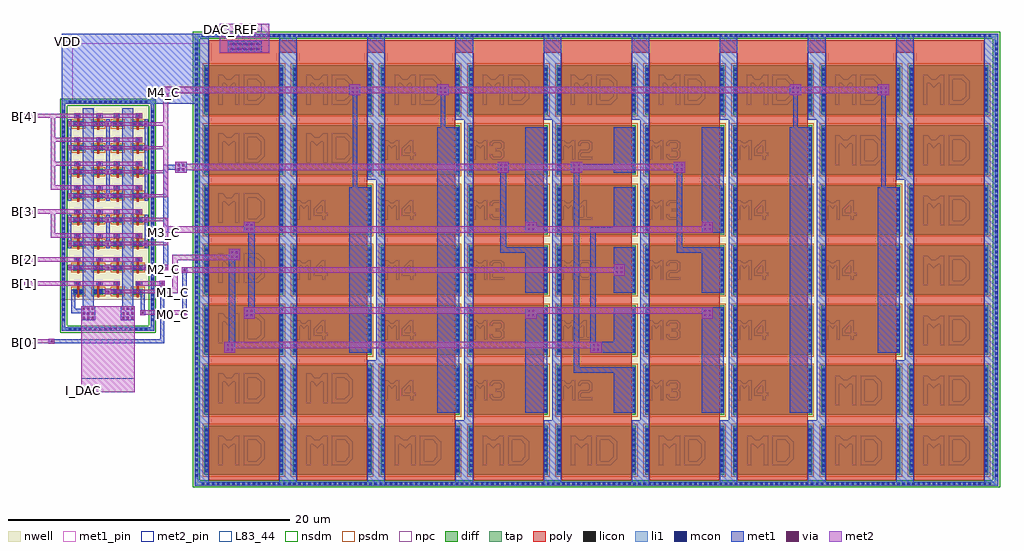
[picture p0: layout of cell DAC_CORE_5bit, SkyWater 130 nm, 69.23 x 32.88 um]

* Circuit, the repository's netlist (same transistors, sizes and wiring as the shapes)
** sch_path: /foss/designs/lab2/xschem/DAC_CORE_5bit.sch
.subckt DAC_CORE_5bit VDD DAC_REF I_DAC b[4] b[3] b[2] b[1] b[0]
*.PININFO DAC_REF:B b[4:0]:I VDD:B I_DAC:O
XM1 M1_C DAC_REF VDD VDD sky130_fd_pr__pfet_01v8 L=5 W=3.5 nf=1 m=2
XM2 M2_C DAC_REF VDD VDD sky130_fd_pr__pfet_01v8 L=5 W=3.5 nf=1 m=4
XM3 M3_C DAC_REF VDD VDD sky130_fd_pr__pfet_01v8 L=5 W=3.5 nf=1 m=8
XM4 M4_C DAC_REF VDD VDD sky130_fd_pr__pfet_01v8 L=5 W=3.5 nf=1 m=16
XM0 M0_C DAC_REF VDD VDD sky130_fd_pr__pfet_01v8 L=5 W=3.5 nf=1
XMK0 I_DAC b[0] M0_C VDD sky130_fd_pr__pfet_01v8 L=0.15 W=0.42 nf=1
XMK1 I_DAC b[1] M1_C VDD sky130_fd_pr__pfet_01v8 L=0.15 W=0.42 nf=1 m=2
XMK2 I_DAC b[2] M2_C VDD sky130_fd_pr__pfet_01v8 L=0.15 W=0.42 nf=1 m=4
XMK3 I_DAC b[3] M3_C VDD sky130_fd_pr__pfet_01v8 L=0.15 W=0.42 nf=1 m=8
XMK4 I_DAC b[4] M4_C VDD sky130_fd_pr__pfet_01v8 L=0.15 W=0.42 nf=1 m=16
XMD VDD DAC_REF VDD VDD sky130_fd_pr__pfet_01v8 L=5 W=3.5 nf=1 m=32
XMKD I_DAC b[1] I_DAC VDD sky130_fd_pr__pfet_01v8 L=0.15 W=0.42 nf=1
.ends

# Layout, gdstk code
from math import pi, radians
import gdstk
lib = gdstk.Library(unit=1e-6, precision=1e-09)
def R(c, l, rs):  # rectangles x0, y0, x1, y1
    for r in rs: c.add(gdstk.rectangle(r[:2], r[2:], *l))
def A(c, l, x, y, w, h, nx, ny, dx, dy):  # array of equal rectangles
    R(c, l, [(x+i*dx, y+j*dy, x+i*dx+w, y+j*dy+h) for i in range(nx) for j in range(ny)])
def P(c, l, *ps):  # polygons
    for p in ps: c.add(gdstk.Polygon(p, *l))
nwell = (64, 20)
diff = (65, 20)
tap = (65, 44)
poly = (66, 20)
licon = (66, 44)
li1 = (67, 20)
mcon = (67, 44)
met1_pin = (68, 16)
met1 = (68, 20)
via = (68, 44)
met2_pin = (69, 16)
met2 = (69, 20)
L83_44 = (83, 44)
nsdm = (93, 44)
psdm = (94, 20)
npc = (95, 20)

text = lib.new_cell('TEXT')
P(text, L83_44, [(0,0),(0,2.1),(0.3,2.1),(0.6,1.8),(0.9,1.8),(1.2,2.1),(1.5,2.1),(1.5,0),(1.2,0),(1.2,1.5),(1.05,1.5),(0.75,1.2),(0.45,1.5),(0.3,1.5),(0.3,0)],
  [(1.8,0),(1.8,2.1),(2.85,2.1),(3.15,1.8),(2.1,1.8),(2.1,0.3),(2.7,0.3),(3,0.6),(3,1.5),(2.7,1.8),(3.15,1.8),(3.3,1.65),(3.3,0.45),(2.85,0)])

guard_ring_gen = lib.new_cell('guard_ring_gen')
P(guard_ring_gen, tap, [(-0.25,-0.25),(-0.25,31.55),(0,31.55),(0,0),(56.5,0),(56.5,31.55),(-0.25,31.55),(-0.25,31.8),(56.75,31.8),(56.75,-0.25)])
A(guard_ring_gen, licon, 0.265, -0.21, 0.17, 0.17, 156, 2, 0.36, 31.8)
A(guard_ring_gen, licon, -0.21, 0.39, 0.17, 0.17, 1, 86, 0, 0.36)
A(guard_ring_gen, licon, 56.54, 0.39, 0.17, 0.17, 1, 86, 0, 0.36)
P(guard_ring_gen, li1, [(-0.25,-0.25),(-0.25,31.55),(0,31.55),(0,0),(56.5,0),(56.5,31.55),(-0.25,31.55),(-0.25,31.8),(56.75,31.8),(56.75,-0.25)])
A(guard_ring_gen, mcon, 0.265, -0.21, 0.17, 0.17, 156, 2, 0.36, 31.8)
A(guard_ring_gen, mcon, -0.21, 0.39, 0.17, 0.17, 1, 86, 0, 0.36)
A(guard_ring_gen, mcon, 56.54, 0.39, 0.17, 0.17, 1, 86, 0, 0.36)
P(guard_ring_gen, met1, [(-0.25,-0.25),(-0.25,31.55),(0,31.55),(0,0),(56.5,0),(56.5,31.55),(-0.25,31.55),(-0.25,31.8),(56.75,31.8),(56.75,-0.25)])
P(guard_ring_gen, nsdm, [(-0.375,-0.375),(-0.375,31.425),(0.125,31.425),(0.125,0.125),(56.375,0.125),(56.375,31.425),(-0.375,31.425),(-0.375,31.925),(56.875,31.925),(56.875,-0.375)])

dac_base_mk = lib.new_cell('DAC_BASE_MK')
R(dac_base_mk, nwell, [(-0.325,-0.38,1.075,1.32)])
R(dac_base_mk, diff, [(0,0,0.75,0.42)])
R(dac_base_mk, poly, [(0.3,-0.2,0.45,0.62), (0.3,0.62,0.57,0.95)])
R(dac_base_mk, licon, [(0.065,0.125,0.235,0.295), (0.515,0.125,0.685,0.295), (0.35,0.7,0.52,0.87)])
R(dac_base_mk, li1, [(0.065,0.045,0.235,0.375), (0.515,0.045,0.685,0.375), (0.27,0.7,0.6,0.87)])
R(dac_base_mk, mcon, [(0.065,0.125,0.235,0.295), (0.515,0.125,0.685,0.295), (0.35,0.7,0.52,0.87)])
R(dac_base_mk, met1, [(-0.325,-0.38,0.065,1.32), (0.005,0.065,0.295,0.355), (0.455,0.065,0.745,0.355), (0.25,0.61,0.67,0.96), (0.25,0.67,0.62,0.9), (0.62,0.67,0.67,0.9)])
R(dac_base_mk, psdm, [(-0.125,-0.125,0.875,0.545)])
R(dac_base_mk, npc, [(0.29,0.61,0.58,0.96)])

vias_gen_5 = lib.new_cell('vias_gen$5')
R(vias_gen_5, met1, [(0,0,0.42,0.35)])
R(vias_gen_5, via, [(0.135,0.1,0.285,0.25)])
R(vias_gen_5, met2, [(0,0,0.42,0.35)])

vias_gen = lib.new_cell('vias_gen')
R(vias_gen, met1, [(0,0,1,1)])
A(vias_gen, via, 0.105, 0.105, 0.15, 0.15, 3, 3, 0.32, 0.32)
R(vias_gen, met2, [(0,0,1,1)])

vias_gen_3 = lib.new_cell('vias_gen$3')
R(vias_gen_3, met1, [(0,0,0.8,0.8)])
R(vias_gen_3, via, [(0.165,0.165,0.315,0.315), (0.485,0.165,0.635,0.315), (0.165,0.485,0.315,0.635), (0.485,0.485,0.635,0.635)])
R(vias_gen_3, met2, [(0,0,0.8,0.8)])

text_3 = lib.new_cell('TEXT$3')
R(text_3, L83_44, [(1.6,0.5,1.8,0.9)])
P(text_3, L83_44, [(0,0),(0,1.4),(0.2,1.4),(0.4,1.2),(0.6,1.2),(0.8,1.4),(1,1.4),(1,0),(0.8,0),(0.8,1),(0.7,1),(0.5,0.8),(0.3,1),(0.2,1),(0.2,0)],
  [(1.4,0),(1.2,0.2),(1.2,1.2),(1.4,1.4),(2,1.4),(2.2,1.2),(1.5,1.2),(1.4,1.1),(1.4,0.3),(1.5,0.2),(1.9,0.2),(2,0.3),(2,1.1),(1.9,1.2),(2.2,1.2),(2.2,0.2),(2,0)])

text_1 = lib.new_cell('TEXT$1')
P(text_1, L83_44, [(0,0),(0,1.4),(0.2,1.4),(0.4,1.2),(0.6,1.2),(0.8,1.4),(1,1.4),(1,0),(0.8,0),(0.8,1),(0.7,1),(0.5,0.8),(0.3,1),(0.2,1),(0.2,0)],
  [(1.2,0),(1.2,0.2),(1.6,0.2),(1.6,1),(1.5,1),(1.3,0.8),(1.2,0.8),(1.2,1),(1.6,1.4),(1.8,1.4),(1.8,0.2),(2.2,0.2),(2.2,0)])

text_4 = lib.new_cell('TEXT$4')
P(text_4, L83_44, [(0,0),(0,1.4),(0.2,1.4),(0.4,1.2),(0.6,1.2),(0.8,1.4),(1,1.4),(1,0),(0.8,0),(0.8,1),(0.7,1),(0.5,0.8),(0.3,1),(0.2,1),(0.2,0)],
  [(1.8,0),(1.8,0.3),(1.2,0.3),(1.2,0.5),(1.8,0.5),(1.8,1),(1.7,1),(1.4,0.7),(1.4,0.5),(1.2,0.5),(1.2,0.8),(1.8,1.4),(2,1.4),(2,0.5),(2.2,0.5),(2.2,0.3),(2,0.3),(2,0)])

dac_base_mcs = lib.new_cell('DAC_BASE_MCS')
R(dac_base_mcs, nwell, [(-0.325,-0.38,5.925,3.88)])
R(dac_base_mcs, diff, [(0,0,5.6,3.5)])
R(dac_base_mcs, poly, [(0.3,-0.38,5.3,3.88)])
A(dac_base_mcs, licon, 0.065, 0.225, 0.17, 0.17, 1, 9, 0, 0.36)
A(dac_base_mcs, licon, 5.365, 0.225, 0.17, 0.17, 1, 9, 0, 0.36)
R(dac_base_mcs, li1, [(0.065,0.145,0.235,3.355), (5.365,0.145,5.535,3.355)])
A(dac_base_mcs, mcon, 0.065, 0.225, 0.17, 0.17, 1, 9, 0, 0.36)
A(dac_base_mcs, mcon, 5.365, 0.225, 0.17, 0.17, 1, 9, 0, 0.36)
R(dac_base_mcs, met1, [(-0.325,-0.38,0.3,3.88), (0.035,0.165,0.265,3.335), (5.335,0.165,5.565,3.335)])
R(dac_base_mcs, psdm, [(-0.125,-0.125,5.725,3.625)])

text_2 = lib.new_cell('TEXT$2')
P(text_2, L83_44, [(0,0),(0,1.4),(0.2,1.4),(0.4,1.2),(0.6,1.2),(0.8,1.4),(1,1.4),(1,0),(0.8,0),(0.8,1),(0.7,1),(0.5,0.8),(0.3,1),(0.2,1),(0.2,0)],
  [(1.2,0),(1.2,0.5),(1.4,0.7),(1.9,0.7),(2,0.8),(2,1.1),(1.9,1.2),(1.5,1.2),(1.4,1.1),(1.4,1),(1.2,1),(1.2,1.2),(1.4,1.4),(2,1.4),(2.2,1.2),(2.2,0.7),(2,0.5),(1.5,0.5),(1.4,0.4),(1.4,0.2),(2.2,0.2),(2.2,0)])

text_5 = lib.new_cell('TEXT$5')
P(text_5, L83_44, [(0,0),(0,1.4),(0.2,1.4),(0.4,1.2),(0.6,1.2),(0.8,1.4),(1,1.4),(1,0),(0.8,0),(0.8,1),(0.7,1),(0.5,0.8),(0.3,1),(0.2,1),(0.2,0)],
  [(1.4,0),(1.2,0.2),(1.2,0.4),(1.4,0.4),(1.4,0.3),(1.5,0.2),(1.9,0.2),(2,0.3),(2,0.5),(1.9,0.6),(1.6,0.6),(1.6,0.8),(1.9,0.8),(2,0.9),(2,1.1),(1.9,1.2),(1.5,1.2),(1.4,1.1),(1.4,1),(1.2,1),(1.2,1.2),(1.4,1.4),(2,1.4),(2.2,1.2),(2.2,0.8),(2.1,0.7),(2.2,0.6),(2.2,0.2),(2,0)])

vias_gen_4 = lib.new_cell('vias_gen$4')
R(vias_gen_4, met1, [(0,0,0.38,0.38)])
R(vias_gen_4, via, [(0.115,0.115,0.265,0.265)])
R(vias_gen_4, met2, [(0,0,0.38,0.38)])

guard_ring_gen_3 = lib.new_cell('guard_ring_gen$3')
P(guard_ring_gen_3, tap, [(-0.25,-0.25),(-0.25,15.85),(0,15.85),(0,0),(6.05,0),(6.05,15.85),(-0.25,15.85),(-0.25,16.1),(6.3,16.1),(6.3,-0.25)])
A(guard_ring_gen_3, licon, 0.24, -0.21, 0.17, 0.17, 16, 2, 0.36, 16.1)
A(guard_ring_gen_3, licon, -0.21, 0.46, 0.17, 0.17, 1, 42, 0, 0.36)
A(guard_ring_gen_3, licon, 6.09, 0.46, 0.17, 0.17, 1, 42, 0, 0.36)
P(guard_ring_gen_3, li1, [(-0.25,-0.25),(-0.25,15.85),(0,15.85),(0,0),(6.05,0),(6.05,15.85),(-0.25,15.85),(-0.25,16.1),(6.3,16.1),(6.3,-0.25)])
A(guard_ring_gen_3, mcon, 0.24, -0.21, 0.17, 0.17, 16, 2, 0.36, 16.1)
A(guard_ring_gen_3, mcon, -0.21, 0.46, 0.17, 0.17, 1, 42, 0, 0.36)
A(guard_ring_gen_3, mcon, 6.09, 0.46, 0.17, 0.17, 1, 42, 0, 0.36)
P(guard_ring_gen_3, met1, [(-0.25,-0.25),(-0.25,15.85),(0,15.85),(0,0),(6.05,0),(6.05,15.85),(-0.25,15.85),(-0.25,16.1),(6.3,16.1),(6.3,-0.25)])
P(guard_ring_gen_3, nsdm, [(-0.375,-0.375),(-0.375,15.725),(0.125,15.725),(0.125,0.125),(5.925,0.125),(5.925,15.725),(-0.375,15.725),(-0.375,16.225),(6.425,16.225),(6.425,-0.375)])

vias_gen_6 = lib.new_cell('vias_gen$6')
R(vias_gen_6, poly, [(0,0,2.4,0.8)])
A(vias_gen_6, licon, 0.095, 0.145, 0.17, 0.17, 7, 2, 0.34, 0.34)
R(vias_gen_6, li1, [(0,0,2.4,0.8)])
A(vias_gen_6, mcon, 0.215, 0.135, 0.17, 0.17, 6, 2, 0.36, 0.36)
R(vias_gen_6, met1, [(0,0,2.4,0.8)])
A(vias_gen_6, via, 0.165, 0.165, 0.15, 0.15, 7, 2, 0.32, 0.32)
R(vias_gen_6, met2, [(0,0,2.4,0.8)])
R(vias_gen_6, npc, [(-0.05,-0.05,2.45,0.85)])

dac_core_5bit = lib.new_cell('DAC_CORE_5bit')
R(dac_core_5bit, nwell, [(-0.825,-0.88,56.425,31.42), (-10.245,12.41,-3.445,26.685)])
A(dac_core_5bit, poly, 0.3, 29.44, 5, 0.5, 9, 1, 6.25, 0)
R(dac_core_5bit, poly, [(0.3,29.94,55.3,30.84)])
R(dac_core_5bit, met1_pin, [(-10.12,26.31,-9.33,30.58), (-10.12,30.58,0.3,31.295)])
A(dac_core_5bit, met1, 24.05, -0.755, 1.25, 4.635, 3, 1, 6.25, 0)
A(dac_core_5bit, met1, 22.765, 12.91, 1.55, 3.24, 3, 1, 6.25, 0)
A(dac_core_5bit, met1, 24.05, 25.18, 1.25, 6.115, 3, 1, 6.25, 0)
R(dac_core_5bit, met1, [(55.3,-0.76,56.3,31.29), (-0.7,-0.755,0.3,31.295), (5.3,-0.755,6.55,31.295), (16.515,4.39,18.065,24.66), (22.765,4.39,24.315,11.89), (29.015,4.39,30.565,7.63), (35.265,4.39,36.815,11.89), (41.515,4.39,43.065,24.66), (10.265,8.65,11.815,20.4), (29.015,8.65,30.565,11.89), (47.765,8.65,49.315,20.4), (28.17,9.05,29.015,9.45), (-8.635,11.49,-7.855,12.412), (-5.835,11.87,-5.055,12.412), (22.765,17.17,24.315,24.66), (29.015,17.17,30.565,20.41), (35.265,17.17,36.815,24.66), (29.015,21.42,30.565,24.66), (-10.12,26.31,0.3,31.295)])
P(dac_core_5bit, met1, [(17.8,-0.755),(17.8,3.885),(18.425,3.885),(18.425,25.185),(17.8,25.185),(17.8,31.295),(19.05,31.295),(19.05,-0.755)],
  [(11.55,-0.76),(11.55,8.14),(12.175,8.14),(12.175,20.92),(11.55,20.92),(11.55,31.29),(12.8,31.29),(12.8,-0.76)],
  [(49.05,-0.76),(49.05,8.14),(49.675,8.14),(49.675,20.92),(49.05,20.92),(49.05,31.29),(50.3,31.29),(50.3,-0.76)],
  [(42.8,-0.76),(42.8,3.88),(43.425,3.88),(43.425,25.18),(42.8,25.18),(42.8,31.29),(44.05,31.29),(44.05,-0.76)])
R(dac_core_5bit, met2_pin, [(-8.75,5.85,-4.94,6.85), (-12.8,9.33,-12.5,9.63), (-12.8,13.425,-12.5,13.725), (-12.8,15.125,-12.5,15.425), (-12.8,18.525,-12.5,18.825), (-12.8,25.325,-12.5,25.625), (1.65,31.42,4.05,32)])
R(dac_core_5bit, met2, [(-8.75,5.85,-4.94,11.95), (1.08,29.94,4.58,32)])
dac_core_5bit.add(gdstk.FlexPath([(1.97,15.415),(1.97,8.99)], 0.46, ends="flush", simple_path=True, layer=68, datatype=20))  # met1
dac_core_5bit.add(gdstk.FlexPath([(-2.75,14.89),(-2.75,21.82),(-2.07,21.82)], 0.38, ends="flush", simple_path=True, layer=68, datatype=20))  # met1
dac_core_5bit.add(gdstk.FlexPath([(10.665,26.91),(10.665,20.4)], 0.32, ends="flush", simple_path=True, layer=68, datatype=20))  # met1
dac_core_5bit.add(gdstk.FlexPath([(16.915,26.91),(16.915,24.66)], 0.32, ends="flush", simple_path=True, layer=68, datatype=20))  # met1
dac_core_5bit.add(gdstk.FlexPath([(41.915,26.91),(41.915,24.66)], 0.32, ends="flush", simple_path=True, layer=68, datatype=20))  # met1
dac_core_5bit.add(gdstk.FlexPath([(48.165,26.91),(48.165,20.4)], 0.32, ends="flush", simple_path=True, layer=68, datatype=20))  # met1
dac_core_5bit.add(gdstk.FlexPath([(-10.845,9.48),(-2.99,9.48),(-2.99,13.44)], 0.3, ends="flush", simple_path=True, layer=68, datatype=20))  # met1
dac_core_5bit.add(gdstk.FlexPath([(-4.375,13.145),(-4.375,11.5)], 0.3, ends="flush", simple_path=True, layer=68, datatype=20))  # met1
dac_core_5bit.add(gdstk.FlexPath([(-1.41,11.69),(-1.41,14.34)], 0.32, ends="flush", simple_path=True, layer=68, datatype=20))  # met1
dac_core_5bit.add(gdstk.FlexPath([(-7.47,18.1),(-6.22,18.1)], 0.3, ends="flush", simple_path=True, layer=68, datatype=20))  # met1
dac_core_5bit.add(gdstk.FlexPath([(-7.47,16.4),(-6.22,16.4)], 0.3, ends="flush", simple_path=True, layer=68, datatype=20))  # met1
dac_core_5bit.add(gdstk.FlexPath([(-7.47,21.5),(-6.22,21.5)], 0.3, ends="flush", simple_path=True, layer=68, datatype=20))  # met1
dac_core_5bit.add(gdstk.FlexPath([(-7.47,23.2),(-6.22,23.2)], 0.3, ends="flush", simple_path=True, layer=68, datatype=20))  # met1
dac_core_5bit.add(gdstk.FlexPath([(-7.47,24.9),(-6.22,24.9)], 0.3, ends="flush", simple_path=True, layer=68, datatype=20))  # met1
dac_core_5bit.add(gdstk.FlexPath([(-7.47,19.8),(-6.22,19.8)], 0.3, ends="flush", simple_path=True, layer=68, datatype=20))  # met1
dac_core_5bit.add(gdstk.FlexPath([(-6.845,19.46),(-6.845,25.235)], 0.24, ends="flush", simple_path=True, layer=68, datatype=20))  # met1
dac_core_5bit.add(gdstk.FlexPath([(-4.11,19.46),(-4.11,25.235)], 0.24, ends="flush", simple_path=True, layer=68, datatype=20))  # met1
dac_core_5bit.add(gdstk.FlexPath([(-6.845,18.44),(-6.845,16.06)], 0.24, ends="flush", simple_path=True, layer=68, datatype=20))  # met1
dac_core_5bit.add(gdstk.FlexPath([(-7.47,14.7),(-6.22,14.7)], 0.3, ends="flush", simple_path=True, layer=68, datatype=20))  # met1
dac_core_5bit.add(gdstk.FlexPath([(-4.67,19.8),(-3.99,19.8)], 0.3, ends="flush", simple_path=True, layer=68, datatype=20))  # met1
dac_core_5bit.add(gdstk.FlexPath([(-4.67,21.5),(-3.99,21.5)], 0.3, ends="flush", simple_path=True, layer=68, datatype=20))  # met1
dac_core_5bit.add(gdstk.FlexPath([(-4.67,23.2),(-3.99,23.2)], 0.3, ends="flush", simple_path=True, layer=68, datatype=20))  # met1
dac_core_5bit.add(gdstk.FlexPath([(-4.67,24.9),(-3.99,24.9)], 0.3, ends="flush", simple_path=True, layer=68, datatype=20))  # met1
dac_core_5bit.add(gdstk.FlexPath([(-4.67,18.1),(-3.99,18.1)], 0.3, ends="flush", simple_path=True, layer=68, datatype=20))  # met1
dac_core_5bit.add(gdstk.FlexPath([(-4.67,14.7),(-3.99,14.7)], 0.3, ends="flush", simple_path=True, layer=68, datatype=20))  # met1
dac_core_5bit.add(gdstk.FlexPath([(-9.02,14.7),(-9.7,14.7)], 0.3, ends="flush", simple_path=True, layer=68, datatype=20))  # met1
dac_core_5bit.add(gdstk.FlexPath([(-9.02,16.4),(-9.7,16.4)], 0.3, ends="flush", simple_path=True, layer=68, datatype=20))  # met1
dac_core_5bit.add(gdstk.FlexPath([(-4.67,16.4),(-3.99,16.4)], 0.3, ends="flush", simple_path=True, layer=68, datatype=20))  # met1
dac_core_5bit.add(gdstk.FlexPath([(-9.02,18.1),(-9.7,18.1)], 0.3, ends="flush", simple_path=True, layer=68, datatype=20))  # met1
dac_core_5bit.add(gdstk.FlexPath([(-9.02,19.8),(-9.7,19.8)], 0.3, ends="flush", simple_path=True, layer=68, datatype=20))  # met1
dac_core_5bit.add(gdstk.FlexPath([(-9.02,21.5),(-9.7,21.5)], 0.3, ends="flush", simple_path=True, layer=68, datatype=20))  # met1
dac_core_5bit.add(gdstk.FlexPath([(-9.02,23.2),(-9.7,23.2)], 0.3, ends="flush", simple_path=True, layer=68, datatype=20))  # met1
dac_core_5bit.add(gdstk.FlexPath([(-9.02,24.9),(-9.7,24.9)], 0.3, ends="flush", simple_path=True, layer=68, datatype=20))  # met1
dac_core_5bit.add(gdstk.FlexPath([(-9.58,19.46),(-9.58,25.235)], 0.24, ends="flush", simple_path=True, layer=68, datatype=20))  # met1
dac_core_5bit.add(gdstk.FlexPath([(-4.11,18.44),(-4.11,16.06)], 0.24, ends="flush", simple_path=True, layer=68, datatype=20))  # met1
dac_core_5bit.add(gdstk.FlexPath([(-9.58,18.44),(-9.58,16.06)], 0.24, ends="flush", simple_path=True, layer=68, datatype=20))  # met1
dac_core_5bit.add(gdstk.FlexPath([(29.015,17.37),(27.57,17.37),(27.57,8.85),(29.015,8.85)], 0.4, ends="flush", simple_path=True, layer=68, datatype=20))  # met1
dac_core_5bit.add(gdstk.FlexPath([(3.35,17.17),(3.35,11.43)], 0.46, ends="flush", simple_path=True, layer=68, datatype=20))  # met1
dac_core_5bit.add(gdstk.FlexPath([(29.015,21.82),(26.39,21.82),(26.39,7.43),(29.015,7.43)], 0.4, ends="flush", simple_path=True, layer=68, datatype=20))  # met1
dac_core_5bit.add(gdstk.FlexPath([(35.265,15.95),(33.69,15.95),(33.69,21.82)], 0.4, ends="flush", simple_path=True, layer=68, datatype=20))  # met1
dac_core_5bit.add(gdstk.FlexPath([(22.765,15.95),(21.19,15.95),(21.19,21.82)], 0.4, ends="flush", simple_path=True, layer=68, datatype=20))  # met1
dac_core_5bit.add(gdstk.FlexPath([(-9.315,13.145),(-9.315,11.63),(-8.38,11.63)], 0.3, ends="flush", simple_path=True, layer=68, datatype=20))  # met1
dac_core_5bit.add(gdstk.FlexPath([(-7.47,13),(-6.22,13)], 0.3, ends="flush", simple_path=True, layer=68, datatype=20))  # met1
dac_core_5bit.add(gdstk.FlexPath([(27.37,9.22),(1.74,9.22)], 0.46, ends="flush", simple_path=True, layer=69, datatype=20))  # met2
dac_core_5bit.add(gdstk.FlexPath([(2.2,15.415),(-2.09,15.415),(-2.09,12.88)], 0.38, ends="flush", simple_path=True, layer=69, datatype=20))  # met2
dac_core_5bit.add(gdstk.FlexPath([(-2.75,18.22),(-2.75,16.28)], 0.38, ends="flush", simple_path=True, layer=69, datatype=20))  # met2
dac_core_5bit.add(gdstk.FlexPath([(-2.75,27.54),(-2.75,19.68)], 0.38, ends="flush", simple_path=True, layer=69, datatype=20))  # met2
dac_core_5bit.add(gdstk.FlexPath([(-7.035,13),(-2.28,13)], 0.24, ends="flush", simple_path=True, layer=69, datatype=20))  # met2
dac_core_5bit.add(gdstk.FlexPath([(29.815,14.53),(-1.22,14.53)], 0.38, ends="flush", simple_path=True, layer=69, datatype=20))  # met2
dac_core_5bit.add(gdstk.FlexPath([(-3.18,13.575),(-4.45,13.575)], 0.3, ends="flush", simple_path=True, layer=69, datatype=20))  # met2
dac_core_5bit.add(gdstk.FlexPath([(-4.185,11.5),(-1.6,11.5)], 0.32, ends="flush", simple_path=True, layer=69, datatype=20))  # met2
dac_core_5bit.add(gdstk.FlexPath([(-6.44,13.575),(-12.8,13.575)], 0.3, ends="flush", simple_path=True, layer=69, datatype=20))  # met2
dac_core_5bit.add(gdstk.FlexPath([(-4.83,15.275),(-12.8,15.275)], 0.3, ends="flush", simple_path=True, layer=69, datatype=20))  # met2
dac_core_5bit.add(gdstk.FlexPath([(-11.035,9.48),(-12.8,9.48)], 0.3, ends="flush", simple_path=True, layer=69, datatype=20))  # met2
dac_core_5bit.add(gdstk.FlexPath([(-4.83,25.475),(-12.8,25.475)], 0.3, ends="flush", simple_path=True, layer=69, datatype=20))  # met2
dac_core_5bit.add(gdstk.FlexPath([(-4.83,22.075),(-10.6,22.075)], 0.3, ends="flush", simple_path=True, layer=69, datatype=20))  # met2
dac_core_5bit.add(gdstk.FlexPath([(-4.83,23.775),(-10.6,23.775)], 0.3, ends="flush", simple_path=True, layer=69, datatype=20))  # met2
dac_core_5bit.add(gdstk.FlexPath([(-4.83,16.975),(-10.75,16.975),(-10.75,18.525)], 0.3, ends="flush", simple_path=True, layer=69, datatype=20))  # met2
dac_core_5bit.add(gdstk.FlexPath([(-4.83,18.675),(-12.8,18.675)], 0.3, ends="flush", simple_path=True, layer=69, datatype=20))  # met2
dac_core_5bit.add(gdstk.FlexPath([(-4.83,20.375),(-10.75,20.375),(-10.75,25.325)], 0.3, ends="flush", simple_path=True, layer=69, datatype=20))  # met2
dac_core_5bit.add(gdstk.FlexPath([(-9.7,16.4),(-3.99,16.4)], 0.24, ends="flush", simple_path=True, layer=69, datatype=20))  # met2
dac_core_5bit.add(gdstk.FlexPath([(-9.7,14.7),(-3.99,14.7)], 0.24, ends="flush", simple_path=True, layer=69, datatype=20))  # met2
dac_core_5bit.add(gdstk.FlexPath([(-9.7,18.1),(-3.99,18.1)], 0.24, ends="flush", simple_path=True, layer=69, datatype=20))  # met2
dac_core_5bit.add(gdstk.FlexPath([(-9.7,19.8),(-3.99,19.8)], 0.24, ends="flush", simple_path=True, layer=69, datatype=20))  # met2
dac_core_5bit.add(gdstk.FlexPath([(-9.7,21.5),(-3.99,21.5)], 0.24, ends="flush", simple_path=True, layer=69, datatype=20))  # met2
dac_core_5bit.add(gdstk.FlexPath([(-9.7,23.2),(-3.99,23.2)], 0.24, ends="flush", simple_path=True, layer=69, datatype=20))  # met2
dac_core_5bit.add(gdstk.FlexPath([(-9.7,24.9),(-3.99,24.9)], 0.24, ends="flush", simple_path=True, layer=69, datatype=20))  # met2
dac_core_5bit.add(gdstk.FlexPath([(-3.99,24.9),(-2.94,24.9)], 0.24, ends="flush", simple_path=True, layer=69, datatype=20))  # met2
dac_core_5bit.add(gdstk.FlexPath([(-3.99,23.2),(-2.94,23.2)], 0.24, ends="flush", simple_path=True, layer=69, datatype=20))  # met2
dac_core_5bit.add(gdstk.FlexPath([(48.565,27.31),(-2.94,27.31)], 0.46, ends="flush", simple_path=True, layer=69, datatype=20))  # met2
dac_core_5bit.add(gdstk.FlexPath([(-3.99,21.5),(-2.94,21.5)], 0.24, ends="flush", simple_path=True, layer=69, datatype=20))  # met2
dac_core_5bit.add(gdstk.FlexPath([(-3.99,19.8),(-2.94,19.8)], 0.24, ends="flush", simple_path=True, layer=69, datatype=20))  # met2
dac_core_5bit.add(gdstk.FlexPath([(-3.99,16.4),(-2.94,16.4)], 0.24, ends="flush", simple_path=True, layer=69, datatype=20))  # met2
dac_core_5bit.add(gdstk.FlexPath([(-3.99,14.7),(-2.94,14.7)], 0.24, ends="flush", simple_path=True, layer=69, datatype=20))  # met2
dac_core_5bit.add(gdstk.FlexPath([(36.065,11.66),(3.12,11.66)], 0.46, ends="flush", simple_path=True, layer=69, datatype=20))  # met2
dac_core_5bit.add(gdstk.FlexPath([(33.29,21.82),(-1.67,21.82)], 0.46, ends="flush", simple_path=True, layer=69, datatype=20))  # met2
dac_core_5bit.add(gdstk.FlexPath([(36.065,17.4),(-2.94,17.4)], 0.46, ends="flush", simple_path=True, layer=69, datatype=20))  # met2
dac_core_5bit.add(gdstk.FlexPath([(-3.99,18.1),(-2.94,18.1)], 0.24, ends="flush", simple_path=True, layer=69, datatype=20))  # met2
r = gdstk.Reference(text, (0.982,5.093)); r.repetition = gdstk.Repetition(1, 5, v1=(0,0), v2=(0,4.26)); dac_core_5bit.add(r)
r = gdstk.Reference(text, (50.984,4.934)); r.repetition = gdstk.Repetition(1, 5, v1=(0,0), v2=(0,4.26)); dac_core_5bit.add(r)
dac_core_5bit.add(gdstk.Reference(guard_ring_gen, (-0.45,-0.505)))
dac_core_5bit.add(gdstk.Reference(text, (7.23,5.095)))
dac_core_5bit.add(gdstk.Reference(text, (44.73,21.975)))
dac_core_5bit.add(gdstk.Reference(text, (7.23,22.135)))
dac_core_5bit.add(gdstk.Reference(text, (44.735,4.935)))
r = gdstk.Reference(text, (0.983,0.683)); r.repetition = gdstk.Repetition(9, 1, v1=(6.25,0), v2=(0,0)); dac_core_5bit.add(r)
r = gdstk.Reference(text, (0.98,26.265)); r.repetition = gdstk.Repetition(9, 1, v1=(6.25,0), v2=(0,0)); dac_core_5bit.add(r)
r = gdstk.Reference(dac_base_mk, (-5.12,12.79)); r.repetition = gdstk.Repetition(1, 8, v1=(0,0), v2=(0,1.7)); dac_core_5bit.add(r)
r = gdstk.Reference(dac_base_mk, (-7.92,12.79)); r.repetition = gdstk.Repetition(1, 8, v1=(0,0), v2=(0,1.7)); dac_core_5bit.add(r)
r = gdstk.Reference(vias_gen_5, (-9.24,13.4)); r.repetition = gdstk.Repetition(2, 8, v1=(1.61,0), v2=(0,1.7)); dac_core_5bit.add(r)
dac_core_5bit.add(gdstk.Reference(vias_gen, (-8.75,10.95)))
dac_core_5bit.add(gdstk.Reference(vias_gen, (-5.94,10.95)))
dac_core_5bit.add(gdstk.Reference(vias_gen_3, (29.015,14.13)))
dac_core_5bit.add(gdstk.Reference(vias_gen_3, (2.78,17.17)))
dac_core_5bit.add(gdstk.Reference(vias_gen_3, (27.37,8.65)))
dac_core_5bit.add(gdstk.Reference(text_3, (25.3,13.83)))
dac_core_5bit.add(gdstk.Reference(vias_gen_3, (22.765,17.17)))
dac_core_5bit.add(gdstk.Reference(vias_gen_3, (41.515,26.91)))
dac_core_5bit.add(gdstk.Reference(vias_gen_3, (10.265,26.91)))
dac_core_5bit.add(gdstk.Reference(vias_gen_3, (16.515,26.91)))
dac_core_5bit.add(gdstk.Reference(vias_gen_3, (47.765,26.91)))
dac_core_5bit.add(gdstk.Reference(vias_gen_3, (25.99,21.42)))
r = gdstk.Reference(text_1, (25.3,9.57)); r.repetition = gdstk.Repetition(1, 2, v1=(0,0), v2=(0,8.52)); dac_core_5bit.add(r)
r = gdstk.Reference(text_4, (12.8,5.31)); r.repetition = gdstk.Repetition(1, 5, v1=(0,0), v2=(0,4.26)); dac_core_5bit.add(r)
r = gdstk.Reference(dac_base_mcs, (0,0)); r.repetition = gdstk.Repetition(9, 7, v1=(6.25,0), v2=(0,4.26)); dac_core_5bit.add(r)
r = gdstk.Reference(text_2, (25.3,5.31)); r.repetition = gdstk.Repetition(1, 2, v1=(0,0), v2=(0,17.04)); dac_core_5bit.add(r)
r = gdstk.Reference(text_2, (19.05,13.83)); r.repetition = gdstk.Repetition(2, 1, v1=(12.5,0), v2=(0,0)); dac_core_5bit.add(r)
r = gdstk.Reference(text_4, (37.8,5.31)); r.repetition = gdstk.Repetition(1, 5, v1=(0,0), v2=(0,4.26)); dac_core_5bit.add(r)
r = gdstk.Reference(text_4, (6.55,9.57)); r.repetition = gdstk.Repetition(1, 3, v1=(0,0), v2=(0,4.26)); dac_core_5bit.add(r)
r = gdstk.Reference(text_4, (44.05,9.57)); r.repetition = gdstk.Repetition(1, 3, v1=(0,0), v2=(0,4.26)); dac_core_5bit.add(r)
r = gdstk.Reference(text_5, (31.55,5.31)); r.repetition = gdstk.Repetition(1, 2, v1=(0,0), v2=(0,4.26)); dac_core_5bit.add(r)
r = gdstk.Reference(text_5, (19.05,18.09)); r.repetition = gdstk.Repetition(1, 2, v1=(0,0), v2=(0,4.26)); dac_core_5bit.add(r)
r = gdstk.Reference(text_5, (19.05,5.31)); r.repetition = gdstk.Repetition(1, 2, v1=(0,0), v2=(0,4.26)); dac_core_5bit.add(r)
dac_core_5bit.add(gdstk.Reference(vias_gen_3, (22.765,11.09)))
r = gdstk.Reference(text_5, (31.55,18.09)); r.repetition = gdstk.Repetition(1, 2, v1=(0,0), v2=(0,4.26)); dac_core_5bit.add(r)
dac_core_5bit.add(gdstk.Reference(vias_gen_3, (35.265,11.09)))
dac_core_5bit.add(gdstk.Reference(vias_gen_3, (35.265,17.17)))
r = gdstk.Reference(dac_base_mk, (-5.77,12.79), rotation=pi, x_reflection=True); r.repetition = gdstk.Repetition(1, 8, v1=(0,0), v2=(0,1.7)); dac_core_5bit.add(r)
dac_core_5bit.add(gdstk.Reference(vias_gen_4, (-3.18,13.385)))
dac_core_5bit.add(gdstk.Reference(vias_gen_4, (-11.035,9.29)))
r = gdstk.Reference(dac_base_mk, (-8.57,12.79), rotation=pi, x_reflection=True); r.repetition = gdstk.Repetition(1, 8, v1=(0,0), v2=(0,1.7)); dac_core_5bit.add(r)
dac_core_5bit.add(gdstk.Reference(vias_gen_4, (-7.035,12.81)))
dac_core_5bit.add(gdstk.Reference(vias_gen_4, (-1.6,14.34)))
dac_core_5bit.add(gdstk.Reference(vias_gen_4, (-4.565,11.31)))
dac_core_5bit.add(gdstk.Reference(vias_gen_4, (-1.6,11.31)))
dac_core_5bit.add(gdstk.Reference(vias_gen_4, (-7.04,17.91)))
dac_core_5bit.add(gdstk.Reference(vias_gen_4, (-7.04,16.21)))
dac_core_5bit.add(gdstk.Reference(vias_gen_4, (-7.04,21.31)))
dac_core_5bit.add(gdstk.Reference(vias_gen_4, (-7.04,23.01)))
dac_core_5bit.add(gdstk.Reference(vias_gen_4, (-7.04,24.71)))
dac_core_5bit.add(gdstk.Reference(vias_gen_4, (-7.04,19.61)))
dac_core_5bit.add(gdstk.Reference(vias_gen_4, (-4.37,19.61)))
dac_core_5bit.add(gdstk.Reference(guard_ring_gen_3, (-9.87,10.46)))
dac_core_5bit.add(gdstk.Reference(vias_gen_4, (-7.03,14.51)))
r = gdstk.Reference(vias_gen_5, (-6.44,13.4)); r.repetition = gdstk.Repetition(2, 8, v1=(1.61,0), v2=(0,1.7)); dac_core_5bit.add(r)
dac_core_5bit.add(gdstk.Reference(vias_gen_4, (-4.37,21.31)))
dac_core_5bit.add(gdstk.Reference(vias_gen_4, (-4.37,23.01)))
dac_core_5bit.add(gdstk.Reference(vias_gen_4, (-4.37,24.71)))
dac_core_5bit.add(gdstk.Reference(vias_gen_4, (-4.37,17.91)))
dac_core_5bit.add(gdstk.Reference(vias_gen_4, (-4.37,14.51)))
dac_core_5bit.add(gdstk.Reference(vias_gen_4, (-9.32,14.51), rotation=pi, x_reflection=True))
dac_core_5bit.add(gdstk.Reference(vias_gen_4, (-9.32,16.21), rotation=pi, x_reflection=True))
dac_core_5bit.add(gdstk.Reference(vias_gen_4, (-4.37,16.21)))
dac_core_5bit.add(gdstk.Reference(vias_gen_4, (-9.32,17.91), rotation=pi, x_reflection=True))
dac_core_5bit.add(gdstk.Reference(vias_gen_4, (-9.32,19.61), rotation=pi, x_reflection=True))
dac_core_5bit.add(gdstk.Reference(vias_gen_4, (-9.32,21.31), rotation=pi, x_reflection=True))
dac_core_5bit.add(gdstk.Reference(vias_gen_4, (-9.32,23.01), rotation=pi, x_reflection=True))
dac_core_5bit.add(gdstk.Reference(vias_gen_4, (-9.32,24.71), rotation=pi, x_reflection=True))
dac_core_5bit.add(gdstk.Reference(vias_gen_3, (2.78,11.09)))
dac_core_5bit.add(gdstk.Reference(vias_gen_4, (-2.94,14.51)))
dac_core_5bit.add(gdstk.Reference(vias_gen_3, (33.29,21.42)))
dac_core_5bit.add(gdstk.Reference(vias_gen_3, (20.795,21.42)))
dac_core_5bit.add(gdstk.Reference(vias_gen_3, (-2.07,21.42)))
dac_core_5bit.add(gdstk.Reference(vias_gen_6, (1.65,29.99)))
dac_core_5bit.add(gdstk.Reference(vias_gen_3, (1.4,8.65)))
dac_core_5bit.add(gdstk.Reference(vias_gen_3, (1.74,15.225)))
dac_core_5bit.add(gdstk.Label('M2_C', (-2.88,14.56), layer=83, texttype=44))
dac_core_5bit.add(gdstk.Label('M3_C', (-2.88,17.19), layer=83, texttype=44))
dac_core_5bit.add(gdstk.Label('M4_C', (-2.878,27.142), layer=83, texttype=44))
dac_core_5bit.add(gdstk.Label('M1_C', (-2.28,12.91), layer=83, texttype=44))
dac_core_5bit.add(gdstk.Label('M0_C', (-2.28,11.34), layer=83, texttype=44))
dac_core_5bit.add(gdstk.Label('DAC_REF', (1.84,31.56), layer=69, texttype=5))
dac_core_5bit.add(gdstk.Label('B[0]', (-12.777,9.393), layer=69, texttype=5))
dac_core_5bit.add(gdstk.Label('B[1]', (-12.777,13.54), layer=69, texttype=5))
dac_core_5bit.add(gdstk.Label('B[4]', (-12.777,25.44), layer=69, texttype=5))
dac_core_5bit.add(gdstk.Label('I_DAC', (-8.55,5.97), layer=69, texttype=5))
dac_core_5bit.add(gdstk.Label('B[2]', (-12.777,15.27), layer=69, texttype=5))
dac_core_5bit.add(gdstk.Label('B[3]', (-12.777,18.665), layer=69, texttype=5))
dac_core_5bit.add(gdstk.Label('VDD', (-9.69,30.76), layer=68, texttype=5))

lib.write_gds('DAC_CORE_5bit.gds')
